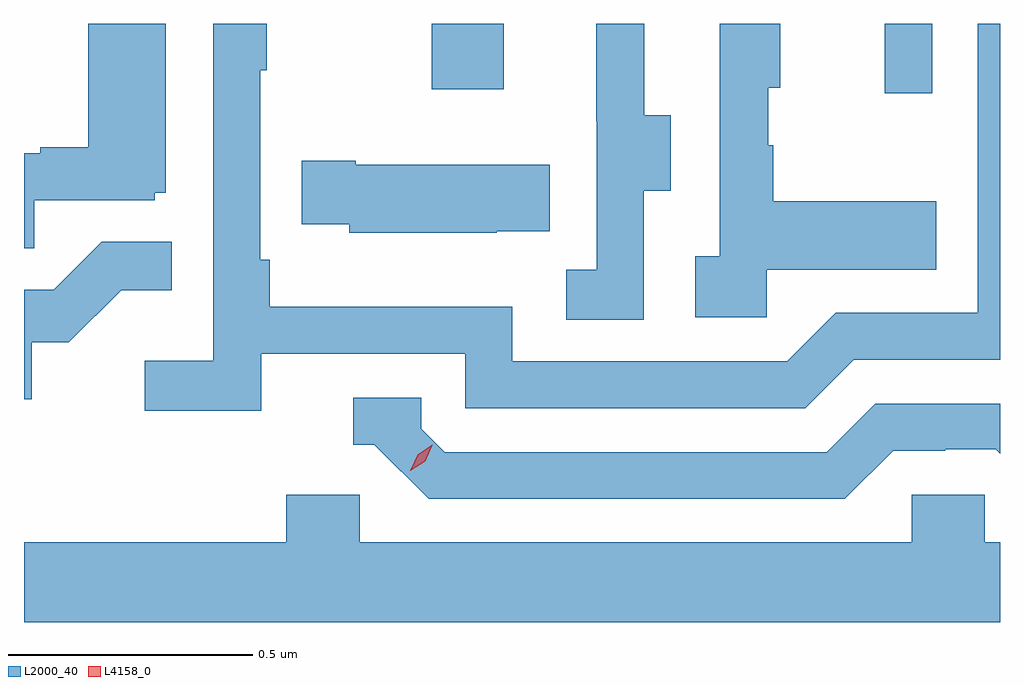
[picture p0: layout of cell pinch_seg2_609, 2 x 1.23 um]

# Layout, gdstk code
import gdstk
lib = gdstk.Library(unit=1e-6, precision=1e-09)
def R(c, l, rs):  # rectangles x0, y0, x1, y1
    for r in rs: c.add(gdstk.rectangle(r[:2], r[2:], *l))
def P(c, l, *ps):  # polygons
    for p in ps: c.add(gdstk.Polygon(p, *l))
L2000_40 = (2000, 40)
L4158_0 = (4158, 0)

pinch_seg2_609 = lib.new_cell('pinch_seg2_609')
R(pinch_seg2_609, L2000_40, [(1069.628,622.08,1069.725,622.223), (1068.7,622.089,1068.847,622.223)])
P(pinch_seg2_609, L2000_40, [(1067.885,621.861),(1068.132,621.861),(1068.132,621.876),(1068.154,621.876),(1068.154,622.223),(1067.996,622.223),(1067.996,621.97),(1067.897,621.97),(1067.897,621.957),(1067.864,621.957),(1067.864,621.763),(1067.885,621.763)],
  [(1068.35,621.546),(1068.768,621.546),(1068.768,621.435),(1069.465,621.435),(1069.564,621.534),(1069.864,621.534),(1069.864,622.223),(1069.818,622.223),(1069.818,621.63),(1069.527,621.63),(1069.428,621.531),(1068.864,621.531),(1068.864,621.643),(1068.368,621.643),(1068.368,621.739),(1068.348,621.739),(1068.348,622.127),(1068.361,622.127),(1068.361,622.223),(1068.252,622.223),(1068.252,621.532),(1068.111,621.532),(1068.111,621.43),(1068.35,621.43)],
  [(1069.134,621.88),(1069.189,621.88),(1069.189,622.035),(1069.135,622.035),(1069.135,622.223),(1069.037,622.223),(1069.037,622.023),(1069.038,622.023),(1069.038,621.719),(1068.975,621.719),(1068.975,621.616),(1069.134,621.616)],
  [(1069.386,621.719),(1069.733,621.719),(1069.733,621.859),(1069.399,621.859),(1069.399,621.974),(1069.389,621.974),(1069.389,622.092),(1069.414,622.092),(1069.414,622.223),(1069.29,622.223),(1069.29,621.746),(1069.239,621.746),(1069.239,621.621),(1069.386,621.621)],
  [(1068.833,621.797),(1068.941,621.797),(1068.941,621.934),(1068.544,621.934),(1068.544,621.942),(1068.433,621.942),(1068.433,621.812),(1068.531,621.812),(1068.531,621.794),(1068.833,621.794)],
  [(1067.88,621.57),(1067.956,621.57),(1068.063,621.677),(1068.167,621.677),(1068.167,621.776),(1068.023,621.776),(1067.925,621.678),(1067.864,621.678),(1067.864,621.453),(1067.88,621.453)],
  [(1069.645,621.348),(1069.752,621.348),(1069.752,621.351),(1069.855,621.351),(1069.864,621.342),(1069.864,621.444),(1069.608,621.444),(1069.509,621.345),(1068.726,621.345),(1068.678,621.393),(1068.678,621.456),(1068.539,621.456),(1068.539,621.36),(1068.582,621.36),(1068.693,621.249),(1069.546,621.249)],
  [(1069.864,621.16),(1069.833,621.16),(1069.833,621.258),(1069.683,621.258),(1069.683,621.16),(1068.552,621.16),(1068.552,621.258),(1068.401,621.258),(1068.401,621.16),(1067.864,621.16),(1067.864,620.996),(1069.864,620.996)])
P(pinch_seg2_609, L4158_0, [(1068.655,621.307),(1068.655,621.307),(1068.671,621.34),(1068.701,621.36),(1068.701,621.36),(1068.701,621.359),(1068.686,621.326),(1068.656,621.307)])

lib.write_gds('pinch_seg2_609.gds')
